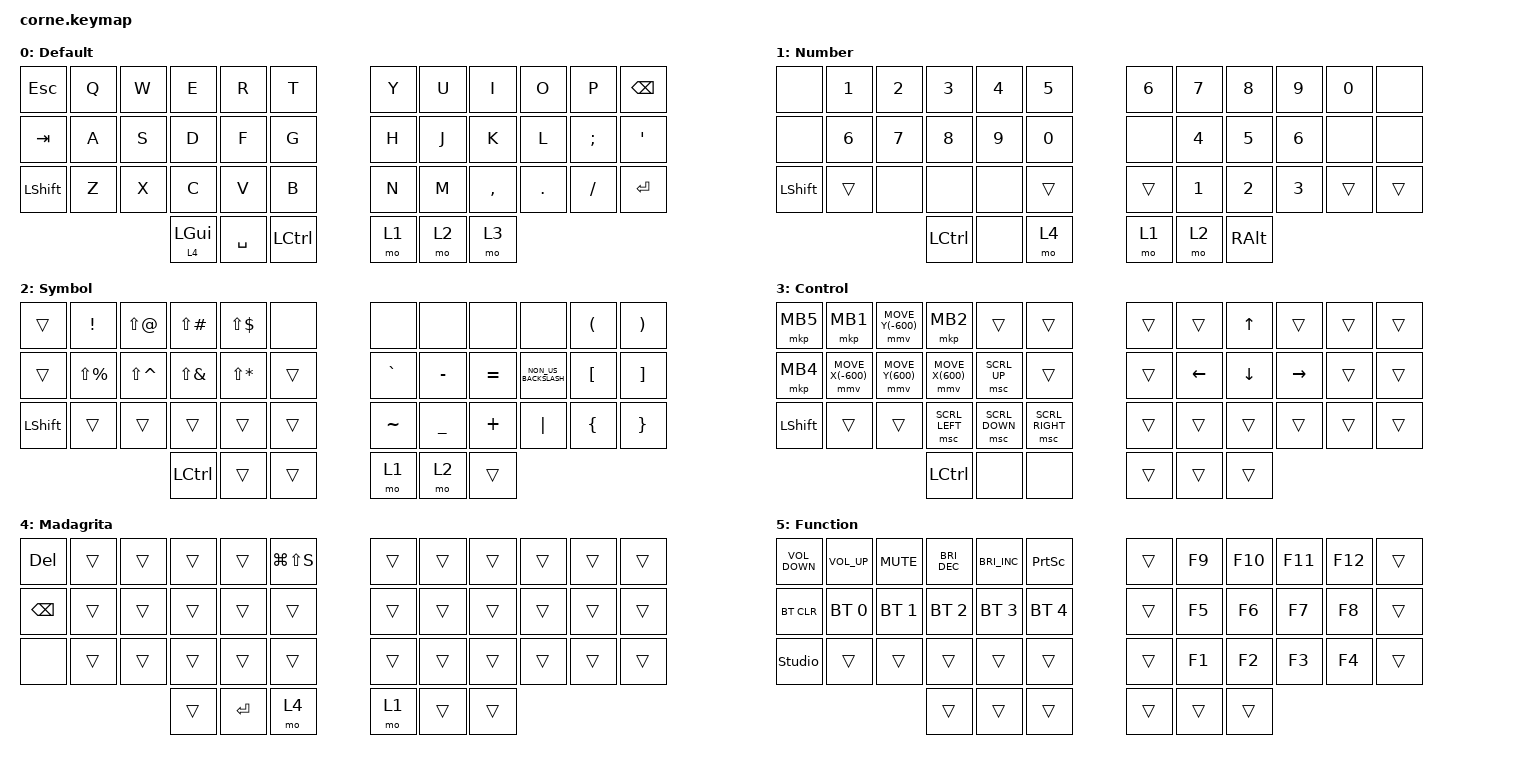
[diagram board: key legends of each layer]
/*
 * Copyright (c) 2020 The ZMK Contributors
 *
 * SPDX-License-Identifier: MIT
 */

#include <behaviors.dtsi>
#include <dt-bindings/zmk/bt.h>
#include <dt-bindings/zmk/keys.h>
#include <dt-bindings/zmk/pointing.h>

/ {
    combos {
        compatible = "zmk,combos";

        alt_left {
            bindings = <&kp LEFT_ALT>;
            key-positions = <16 15>;
        };
    };

    behaviors {
        hold_tap_window_layer: hold_tap_window_layer {
            compatible = "zmk,behavior-hold-tap";
            label = "HOLD_TAP_WINDOW_LAYER";
            bindings = <&mo>, <&kp>;

            #binding-cells = <2>;
            tapping-term-ms = <150>;
            flavor = "tap-preferred";
            quick-tap-ms = <200>;
        };
    };

    keymap {
        compatible = "zmk,keymap";

        default_layer {
            display-name = "Default";

            // -----------------------------------------------------------------------------------------
            // |  TAB |  Q  |  W  |  E  |  R  |  T  |   |  Y  |  U   |  I  |  O  |  P  | BSPC |
            // | CTRL |  A  |  S  |  D  |  F  |  G  |   |  H  |  J   |  K  |  L  |  ;  |  '   |
            // | SHFT |  Z  |  X  |  C  |  V  |  B  |   |  N  |  M   |  ,  |  .  |  /  | ESC  |
            //                    | GUI | LWR | SPC |   | ENT | RSE  | ALT |

            bindings = <
&kp ESCAPE  &kp Q  &kp W  &kp E                              &kp R      &kp T        &kp Y  &kp U  &kp I      &kp O    &kp P     &kp BSPC
&kp TAB     &kp A  &kp S  &kp D                              &kp F      &kp G        &kp H  &kp J  &kp K      &kp L    &kp SEMI  &kp SQT
&kp LSHFT   &kp Z  &kp X  &kp C                              &kp V      &kp B        &kp N  &kp M  &kp COMMA  &kp DOT  &kp FSLH  &kp ENTER
                          &hold_tap_window_layer 4 LEFT_GUI  &kp SPACE  &kp LCTRL    &mo 1  &mo 2  &mo 3
            >;
        };

        number {
            display-name = "Number";

            // -----------------------------------------------------------------------------------------
            // |  TAB |  1  |  2  |  3  |  4  |  5  |   |  6  |  7  |  8  |  9  |  0  | BSPC |
            // | BTCLR| BT1 | BT2 | BT3 | BT4 | BT5 |   | LFT | DWN |  UP | RGT |     |      |
            // | SHFT |     |     |     |     |     |   |     |     |     |     |     |      |
            //                    | GUI |     | SPC |   | ENT |     | ALT |

            bindings = <
&none      &kp NUMBER_1  &kp N2  &kp N3     &kp N4  &kp N5    &kp N6  &kp N7  &kp N8         &kp N9  &kp N0  &none
&none      &kp N6        &kp N7  &kp N8     &kp N9  &kp N0    &none   &kp N4  &kp N5         &kp N6  &none   &none
&kp LSHFT  &trans        &none   &none      &none   &trans    &trans  &kp N1  &kp N2         &kp N3  &trans  &trans
                                 &kp LCTRL  &none   &mo 4     &mo 1   &mo 2   &kp RIGHT_ALT
            >;
        };

        symbol {
            bindings = <
&trans          &kp EXCLAMATION  &kp LS(AT)     &kp LS(POUND)  &kp LS(DLLR)  &none     &none      &none           &none      &none                 &kp LEFT_PARENTHESIS  &kp RIGHT_PARENTHESIS
&trans          &kp LS(PRCNT)    &kp LS(CARET)  &kp LS(AMPS)   &kp LS(STAR)  &trans    &kp GRAVE  &kp MINUS       &kp EQUAL  &kp NON_US_BACKSLASH  &kp LEFT_BRACKET      &kp RIGHT_BRACKET
&kp LEFT_SHIFT  &trans           &trans         &trans         &trans        &trans    &kp TILDE  &kp UNDERSCORE  &kp PLUS   &kp PIPE              &kp LEFT_BRACE        &kp RIGHT_BRACE
                                                &kp LCTRL      &trans        &trans    &mo 1      &mo 2           &trans
            >;

            label = "Symbol";
        };

        control {
            bindings = <
&mkp MB5        &mkp MB1           &mmv MOVE_Y(-600)  &mkp MB2          &trans          &trans             &trans  &trans          &kp UP_ARROW    &trans           &trans  &trans
&mkp MB4        &mmv MOVE_X(-600)  &mmv MOVE_Y(600)   &mmv MOVE_X(600)  &msc SCRL_UP    &trans             &trans  &kp LEFT_ARROW  &kp DOWN_ARROW  &kp RIGHT_ARROW  &trans  &trans
&kp LEFT_SHIFT  &trans             &trans             &msc SCRL_LEFT    &msc SCRL_DOWN  &msc SCRL_RIGHT    &trans  &trans          &trans          &trans           &trans  &trans
                                                      &kp LCTRL         &none           &none              &trans  &trans          &trans
            >;

            label = "Control";
        };

        Madagrita {
            bindings = <
&kp DEL        &trans  &trans  &trans  &trans     &kp LG(LS(S))    &trans  &trans  &trans  &trans  &trans  &trans
&kp BACKSPACE  &trans  &trans  &trans  &trans     &trans           &trans  &trans  &trans  &trans  &trans  &trans
&none          &trans  &trans  &trans  &trans     &trans           &trans  &trans  &trans  &trans  &trans  &trans
                               &trans  &kp ENTER  &mo 4            &mo 1   &trans  &trans
            >;

            label = "Madagrita";
        };

        function {
            bindings = <
&kp C_VOLUME_DOWN  &kp C_VOLUME_UP  &kp C_MUTE    &kp C_BRIGHTNESS_DEC  &kp C_BRIGHTNESS_INC  &kp PRINTSCREEN    &trans  &kp F9  &kp F10  &kp F11  &kp F12  &trans
&bt BT_CLR         &bt BT_SEL 0     &bt BT_SEL 1  &bt BT_SEL 2          &bt BT_SEL 3          &bt BT_SEL 4       &trans  &kp F5  &kp F6   &kp F7   &kp F8   &trans
&studio_unlock     &trans           &trans        &trans                &trans                &trans             &trans  &kp F1  &kp F2   &kp F3   &kp F4   &trans
                                                  &trans                &trans                &trans             &trans  &trans  &trans
            >;

            label = "Function";
        };
    };

    conditional_layers {
        compatible = "zmk,conditional-layers";

        Function {
            if-layers = <1 4>;
            then-layer = <5>;
        };

        Function_1 {
            if-layers = <1 2>;
            then-layer = <5>;
        };
    };
};
